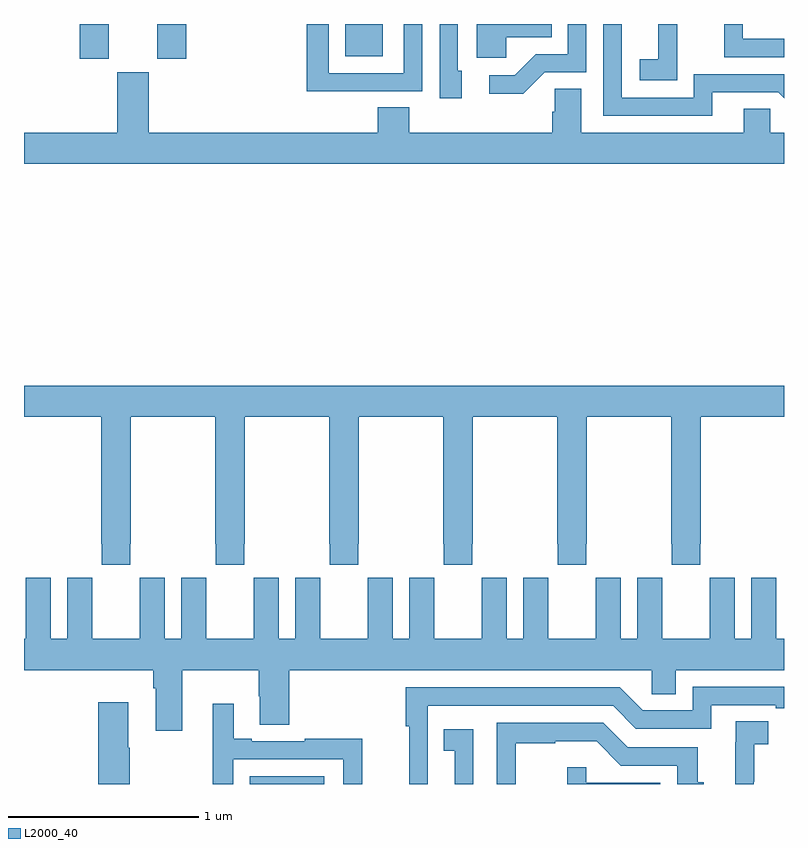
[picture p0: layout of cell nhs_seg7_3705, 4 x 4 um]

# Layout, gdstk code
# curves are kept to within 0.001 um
import gdstk
lib = gdstk.Library(unit=1e-6, precision=1e-09)
def R(c, l, rs):  # rectangles x0, y0, x1, y1
    for r in rs: c.add(gdstk.rectangle(r[:2], r[2:], *l))
def P(c, l, *ps):  # polygons
    for p in ps: c.add(gdstk.Polygon(p, *l))
L2000_40 = (2000, 40)

nhs_seg7_3705 = lib.new_cell('nhs_seg7_3705')
R(nhs_seg7_3705, L2000_40, [(348.187,1016,348.58,1016.041), (347.294,1019.817,347.446,1020), (347.702,1019.817,347.855,1020), (348.692,1019.831,348.889,1020)])
P(nhs_seg7_3705, L2000_40, [(351,1019.922),(350.784,1019.922),(350.784,1020),(350.686,1020),(350.686,1019.826),(351,1019.826)],
  [(349.74,1019.745),(349.959,1019.745),(349.959,1020),(349.863,1020),(349.863,1019.841),(349.694,1019.841),(349.583,1019.73),(349.449,1019.73),(349.449,1019.633),(349.627,1019.633)],
  [(349.303,1019.754),(349.284,1019.754),(349.284,1020),(349.188,1020),(349.188,1019.61),(349.303,1019.61)],
  [(350.439,1019.911),(350.438,1019.911),(350.438,1020),(350.339,1020),(350.339,1019.815),(350.241,1019.815),(350.241,1019.705),(350.439,1019.705)],
  [(350.623,1019.64),(350.97,1019.64),(351,1019.61),(351,1019.736),(350.526,1019.736),(350.526,1019.613),(350.145,1019.613),(350.145,1020),(350.049,1020),(350.049,1019.517),(350.623,1019.517)],
  [(348.779,1019.646),(349.095,1019.646),(349.095,1020),(348.999,1020),(348.999,1019.742),(348.603,1019.742),(348.603,1020),(348.487,1020),(348.487,1019.645),(348.779,1019.645)],
  [(349.539,1019.93),(349.778,1019.93),(349.778,1020),(349.382,1020),(349.382,1019.822),(349.539,1019.822)],
  [(351,1019.428),(350.928,1019.428),(350.928,1019.555),(350.789,1019.555),(350.789,1019.428),(349.933,1019.428),(349.933,1019.66),(349.794,1019.66),(349.794,1019.537),(349.781,1019.537),(349.781,1019.428),(349.028,1019.428),(349.028,1019.561),(348.863,1019.561),(348.863,1019.428),(347.656,1019.428),(347.656,1019.745),(347.492,1019.745),(347.492,1019.428),(347,1019.428),(347,1019.264),(351,1019.264)],
  [(347.559,1017.265),(347.562,1017.265),(347.562,1017.932),(348.007,1017.932),(348.007,1017.265),(348.009,1017.265),(348.009,1017.153),(348.159,1017.153),(348.159,1017.265),(348.162,1017.265),(348.162,1017.932),(348.607,1017.932),(348.607,1017.265),(348.609,1017.265),(348.609,1017.153),(348.759,1017.153),(348.759,1017.265),(348.762,1017.265),(348.762,1017.932),(349.207,1017.932),(349.207,1017.265),(349.209,1017.265),(349.209,1017.153),(349.359,1017.153),(349.359,1017.265),(349.362,1017.265),(349.362,1017.932),(349.807,1017.932),(349.807,1017.265),(349.809,1017.265),(349.809,1017.153),(349.959,1017.153),(349.959,1017.265),(349.962,1017.265),(349.962,1017.932),(350.407,1017.932),(350.407,1017.265),(350.409,1017.265),(350.409,1017.153),(350.559,1017.153),(350.559,1017.265),(350.562,1017.265),(350.562,1017.932),(351,1017.932),(351,1018.096),(347,1018.096),(347,1017.932),(347.407,1017.932),(347.407,1017.265),(347.409,1017.265),(347.409,1017.153),(347.559,1017.153)],
  [(348.235,1016.462),(348.242,1016.462),(348.242,1016.311),(348.395,1016.311),(348.395,1016.6),(350.304,1016.6),(350.304,1016.473),(350.431,1016.473),(350.431,1016.6),(351,1016.6),(351,1016.764),(350.959,1016.764),(350.959,1016.972),(350.958,1016.972),(350.958,1017.085),(350.828,1017.085),(350.828,1016.764),(350.74,1016.764),(350.74,1017.085),(350.61,1017.085),(350.61,1016.972),(350.609,1016.972),(350.609,1016.764),(350.359,1016.764),(350.359,1016.972),(350.358,1016.972),(350.358,1017.085),(350.228,1017.085),(350.228,1016.764),(350.14,1016.764),(350.14,1017.085),(350.01,1017.085),(350.01,1016.972),(350.009,1016.972),(350.009,1016.764),(349.759,1016.764),(349.759,1016.972),(349.758,1016.972),(349.758,1017.085),(349.628,1017.085),(349.628,1016.764),(349.54,1016.764),(349.54,1017.085),(349.41,1017.085),(349.41,1016.972),(349.409,1016.972),(349.409,1016.764),(349.159,1016.764),(349.159,1016.972),(349.158,1016.972),(349.158,1017.085),(349.028,1017.085),(349.028,1016.764),(348.94,1016.764),(348.94,1017.085),(348.81,1017.085),(348.81,1016.972),(348.809,1016.972),(348.809,1016.764),(348.559,1016.764),(348.559,1016.972),(348.558,1016.972),(348.558,1017.085),(348.428,1017.085),(348.428,1016.764),(348.34,1016.764),(348.34,1017.085),(348.21,1017.085),(348.21,1016.972),(348.209,1016.972),(348.209,1016.764),(347.959,1016.764),(347.959,1016.972),(347.958,1016.972),(347.958,1017.085),(347.828,1017.085),(347.828,1016.764),(347.74,1016.764),(347.74,1017.085),(347.61,1017.085),(347.61,1016.972),(347.609,1016.972),(347.609,1016.764),(347.359,1016.764),(347.359,1016.972),(347.358,1016.972),(347.358,1017.085),(347.228,1017.085),(347.228,1016.764),(347.14,1016.764),(347.14,1017.085),(347.01,1017.085),(347.01,1016.972),(347.009,1016.972),(347.009,1016.764),(347,1016.764),(347,1016.6),(347.681,1016.6),(347.681,1016.504),(347.693,1016.504),(347.693,1016.28),(347.833,1016.28),(347.833,1016.6),(348.235,1016.6)],
  [(349.126,1016.084),(349.125,1016.412),(350.1,1016.412),(350.22,1016.292),(350.616,1016.292),(350.616,1016.415),(350.957,1016.415),(350.957,1016.4),(351,1016.4),(351,1016.511),(350.52,1016.511),(350.52,1016.388),(350.256,1016.388),(350.136,1016.508),(349.009,1016.508),(349.009,1016.305),(349.027,1016.305),(349.027,1016),(349.126,1016)],
  [(347.556,1016.192),(347.548,1016.192),(347.548,1016.431),(347.39,1016.431),(347.39,1016),(347.556,1016)],
  [(348.102,1016.13),(348.681,1016.13),(348.681,1016),(348.78,1016),(348.78,1016.239),(348.478,1016.239),(348.478,1016.226),(348.199,1016.226),(348.199,1016.239),(348.103,1016.239),(348.103,1016.422),(347.993,1016.422),(347.993,1016.177),(347.994,1016.177),(347.994,1016),(348.102,1016)],
  [(350.841,1016.011),(350.843,1016.011),(350.843,1016.209),(350.917,1016.209),(350.917,1016.33),(350.746,1016.33),(350.746,1016.219),(350.744,1016.219),(350.744,1016),(350.841,1016)],
  [(349.589,1016.214),(349.796,1016.214),(349.796,1016.225),(350.014,1016.225),(350.142,1016.097),(350.438,1016.097),(350.438,1016),(350.578,1016),(350.578,1016.01),(350.545,1016.01),(350.545,1016.193),(350.178,1016.193),(350.049,1016.322),(349.488,1016.322),(349.488,1016),(349.589,1016)],
  [(349.365,1016.287),(349.21,1016.287),(349.21,1016.174),(349.268,1016.174),(349.268,1016),(349.365,1016)],
  [(350.349,1016.007),(349.959,1016.007),(349.959,1016.089),(349.858,1016.089),(349.858,1016),(350.349,1016)])

lib.write_gds('nhs_seg7_3705.gds')
